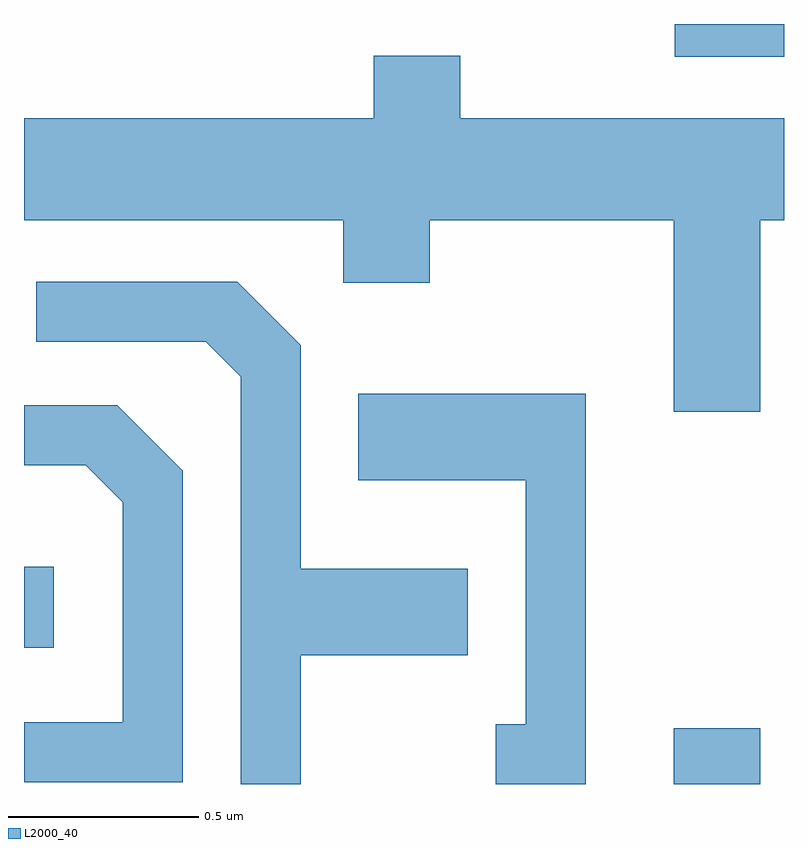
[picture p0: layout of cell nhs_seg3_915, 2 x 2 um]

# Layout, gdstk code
import gdstk
lib = gdstk.Library(unit=1e-6, precision=1e-09)
def R(c, l, rs):  # rectangles x0, y0, x1, y1
    for r in rs: c.add(gdstk.rectangle(r[:2], r[2:], *l))
def P(c, l, *ps):  # polygons
    for p in ps: c.add(gdstk.Polygon(p, *l))
L2000_40 = (2000, 40)

nhs_seg3_915 = lib.new_cell('nhs_seg3_915')
R(nhs_seg3_915, L2000_40, [(193.321,1208.892,193.549,1209.039), (191.611,1209.251,191.689,1209.464), (193.323,1210.806,193.611,1210.892)])
P(nhs_seg3_915, L2000_40, [(193.549,1210.376),(193.611,1210.376),(193.611,1210.644),(192.759,1210.644),(192.759,1210.809),(192.531,1210.809),(192.531,1210.644),(191.611,1210.644),(191.611,1210.376),(192.451,1210.376),(192.451,1210.211),(192.679,1210.211),(192.679,1210.376),(193.321,1210.376),(193.321,1209.871),(193.549,1209.871)],
  [(192.339,1209.231),(192.779,1209.231),(192.779,1209.459),(192.339,1209.459),(192.339,1210.047),(192.172,1210.214),(191.643,1210.214),(191.643,1210.056),(192.089,1210.056),(192.181,1209.964),(192.181,1208.892),(192.339,1208.892)],
  [(193.089,1209.919),(192.491,1209.919),(192.491,1209.691),(192.931,1209.691),(192.931,1209.049),(192.853,1209.049),(192.853,1208.892),(193.089,1208.892)],
  [(192.029,1209.717),(191.857,1209.889),(191.611,1209.889),(191.611,1209.731),(191.774,1209.731),(191.871,1209.634),(191.871,1209.054),(191.611,1209.054),(191.611,1208.896),(192.029,1208.896)])

lib.write_gds('nhs_seg3_915.gds')
